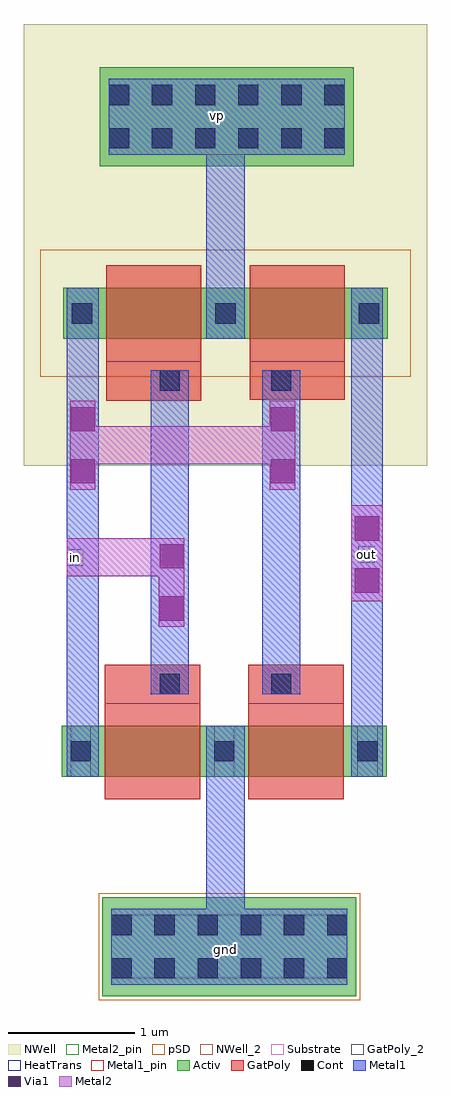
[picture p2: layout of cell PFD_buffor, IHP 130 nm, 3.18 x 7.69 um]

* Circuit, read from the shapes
.subckt PFD_buffor gnd in out vp
XM1 gnd in n1 gnd sg13_lv_nmos w=0.4u l=0.75u
XM2 out n1 gnd gnd sg13_lv_nmos w=0.4u l=0.75u
XM3 vp in n1 vp sg13_lv_pmos w=0.4u l=0.75u
XM4 out n1 vp vp sg13_lv_pmos w=0.4u l=0.75u
.ends

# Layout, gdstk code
import gdstk
lib = gdstk.Library(unit=1e-6, precision=1e-09)
def R(c, l, rs):  # rectangles x0, y0, x1, y1
    for r in rs: c.add(gdstk.rectangle(r[:2], r[2:], *l))
def A(c, l, x, y, w, h, nx, ny, dx, dy):  # array of equal rectangles
    R(c, l, [(x+i*dx, y+j*dy, x+i*dx+w, y+j*dy+h) for i in range(nx) for j in range(ny)])
Activ = (1, 0)
GatPoly = (5, 0)
GatPoly_2 = (5, 2)
Cont = (6, 0)
Metal1 = (8, 0)
Metal1_pin = (8, 2)
Metal2 = (10, 0)
Metal2_pin = (10, 2)
pSD = (14, 0)
Via1 = (19, 0)
NWell = (31, 0)
NWell_2 = (31, 2)
Substrate = (40, 0)
HeatTrans = (51, 0)

ntap1 = lib.new_cell('ntap1')
R(ntap1, Activ, [(0,0,2,0.78)])
A(ntap1, Cont, 0.07, 0.14, 0.16, 0.16, 6, 2, 0.34, 0.34)
R(ntap1, Metal1, [(0.07,0.09,1.93,0.69)])
R(ntap1, Metal1_pin, [(0.07,0.09,1.93,0.69), (0.07,0.14,1.93,0.64)])
R(ntap1, NWell, [(-0.24,-0.24,2.24,1.02), (0,0,2,0.78)])
R(ntap1, NWell_2, [(0,0,2,0.78)])
ntap1.add(gdstk.Label('well', (1,0.01), layer=63, texttype=0))
ntap1.add(gdstk.Label('well', (1,0.01), layer=31, texttype=0))

pmos_6 = lib.new_cell('pmos$6')
R(pmos_6, Activ, [(0,0,0.3,0.3), (0,0,1.43,0.4), (1.13,0,1.43,0.3)])
R(pmos_6, GatPoly, [(0.34,-0.18,1.09,0.58), (0.34,-0.18,1.09,0.58)])
R(pmos_6, Cont, [(0.07,0.12,0.23,0.28), (1.2,0.12,1.36,0.28)])
R(pmos_6, Metal1, [(0.07,0,0.23,0.4), (0.07,0,0.23,0.4), (1.2,0,1.36,0.4), (1.2,0,1.36,0.4)])
R(pmos_6, pSD, [(-0.18,-0.3,1.61,0.7)])
R(pmos_6, NWell, [(-0.31,-0.31,1.74,0.71)])
R(pmos_6, HeatTrans, [(0.34,-0.18,1.09,0.58)])
pmos_6.add(gdstk.Label('pmos', (0.715,0.2), layer=63, texttype=0))
pmos_6.add(gdstk.Label('pmos', (0.715,0.2), layer=51, texttype=0))

nmos_9 = lib.new_cell('nmos$9')
R(nmos_9, Activ, [(0,0,0.3,0.3), (0,0,1.43,0.4), (1.13,0,1.43,0.3)])
R(nmos_9, GatPoly, [(0.34,-0.18,1.09,0.58)])
R(nmos_9, GatPoly_2, [(0.34,-0.18,1.09,0.58)])
R(nmos_9, Cont, [(0.07,0.12,0.23,0.28), (1.2,0.12,1.36,0.28)])
R(nmos_9, Metal1, [(0.07,0,0.23,0.4), (1.2,0,1.36,0.4)])
R(nmos_9, Metal1_pin, [(0.07,0,0.23,0.4), (1.2,0,1.36,0.4)])
R(nmos_9, HeatTrans, [(0.34,-0.18,1.09,0.58)])
nmos_9.add(gdstk.Label('nmos', (0.715,0.2), layer=63, texttype=0))
nmos_9.add(gdstk.Label('nmos', (0.715,0.2), layer=51, texttype=0))

ptap1 = lib.new_cell('ptap1')
R(ptap1, Activ, [(0,0,2,0.78)])
A(ptap1, Cont, 0.07, 0.14, 0.16, 0.16, 6, 2, 0.34, 0.34)
R(ptap1, Metal1, [(0.07,0.09,1.93,0.69), (0.07,0.14,1.93,0.64)])
R(ptap1, Metal1_pin, [(0.07,0.14,1.93,0.64)])
R(ptap1, pSD, [(-0.03,-0.03,2.03,0.81)])
R(ptap1, Substrate, [(0,0,2,0.78)])
ptap1.add(gdstk.Label('sub!', (1,0.01), layer=63, texttype=0))
ptap1.add(gdstk.Label('sub!', (1,0.01), layer=40, texttype=0))

via_4 = lib.new_cell('Via$4')
R(via_4, GatPoly, [(-0.15,-0.15,0.15,0.15)])
R(via_4, Cont, [(-0.08,-0.08,0.08,0.08)])
R(via_4, Metal1, [(-0.13,-0.08,0.13,0.08)])

via_2 = lib.new_cell('Via$2')
R(via_2, Metal1, [(-0.105,-0.35,0.105,0.35)])
R(via_2, Metal2, [(-0.1,-0.35,0.1,0.35)])
R(via_2, Via1, [(-0.095,-0.3,0.095,-0.11), (-0.095,0.11,0.095,0.3)])

pfd_buffor = lib.new_cell('PFD_buffor')
R(pfd_buffor, GatPoly, [(-1.61,-2.42,-0.86,-2.12), (-0.48,-2.42,0.27,-2.12), (-1.6,-0.04,-0.85,0.27), (-0.47,-0.03,0.28,0.27)])
R(pfd_buffor, Metal1_pin, [(-0.725,-4.425,-0.595,-4.295), (-0.785,2.145,-0.655,2.275)])
R(pfd_buffor, Metal2, [(0.33,-1.62,0.58,-0.86)])
R(pfd_buffor, Metal2_pin, [(-1.91,-1.34,-1.78,-1.21), (0.385,-1.315,0.515,-1.185)])
R(pfd_buffor, NWell, [(-2.25,-0.55,0.93,2.93), (-2,-0.55,0.68,2.93)])
pfd_buffor.add(gdstk.FlexPath([(-1.885,-0.39),(-0.115,-0.39)], 0.3, ends="flush", simple_path=True, layer=10, datatype=0))  # Metal2
pfd_buffor.add(gdstk.FlexPath([(-0.99,-1.27),(-1.91,-1.27)], 0.3, ends="flush", simple_path=True, layer=10, datatype=0))  # Metal2
pfd_buffor.add(gdstk.FlexPath([(-1.785,-3),(-1.785,0.85)], 0.25, ends="flush", simple_path=True, layer=8, datatype=0))  # Metal1
pfd_buffor.add(gdstk.FlexPath([(0.455,-3),(0.455,0.85)], 0.25, ends="flush", simple_path=True, layer=8, datatype=0))  # Metal1
pfd_buffor.add(gdstk.FlexPath([(-0.66,0.45),(-0.66,1.95)], 0.3, ends="flush", simple_path=True, layer=8, datatype=0))  # Metal1
pfd_buffor.add(gdstk.FlexPath([(-0.66,-2.6),(-0.66,-4.04)], 0.3, ends="flush", simple_path=True, layer=8, datatype=0))  # Metal1
pfd_buffor.add(gdstk.FlexPath([(-1.1,0.2),(-1.1,-2.35)], 0.3, ends="flush", simple_path=True, layer=8, datatype=0))  # Metal1
pfd_buffor.add(gdstk.FlexPath([(-0.22,0.2),(-0.22,-2.35)], 0.3, ends="flush", simple_path=True, layer=8, datatype=0))  # Metal1
pfd_buffor.add(gdstk.Reference(ntap1, (-1.65,1.81)))
pfd_buffor.add(gdstk.Reference(pmos_6, (-1.94,0.45)))
pfd_buffor.add(gdstk.Reference(pmos_6, (-0.81,0.45)))
pfd_buffor.add(gdstk.Reference(nmos_9, (-0.82,-3)))
pfd_buffor.add(gdstk.Reference(nmos_9, (-1.95,-3)))
pfd_buffor.add(gdstk.Reference(ptap1, (-1.63,-4.73)))
pfd_buffor.add(gdstk.Reference(via_4, (-1.1,-2.27)))
pfd_buffor.add(gdstk.Reference(via_4, (-1.1,0.12)))
pfd_buffor.add(gdstk.Reference(via_4, (-0.22,-2.27)))
pfd_buffor.add(gdstk.Reference(via_4, (-0.22,0.12)))
pfd_buffor.add(gdstk.Reference(via_2, (-1.785,-0.39)))
pfd_buffor.add(gdstk.Reference(via_2, (-1.085,-1.47)))
pfd_buffor.add(gdstk.Reference(via_2, (0.455,-1.25)))
pfd_buffor.add(gdstk.Reference(via_2, (-0.21,-0.39)))
pfd_buffor.add(gdstk.Label('in', (-1.845,-1.275), layer=10, texttype=25))
pfd_buffor.add(gdstk.Label('out', (0.45,-1.25), layer=10, texttype=25))
pfd_buffor.add(gdstk.Label('vp', (-0.72,2.21), layer=8, texttype=25))
pfd_buffor.add(gdstk.Label('gnd', (-0.66,-4.36), layer=8, texttype=25))

lib.write_gds('PFD_buffor.gds')
